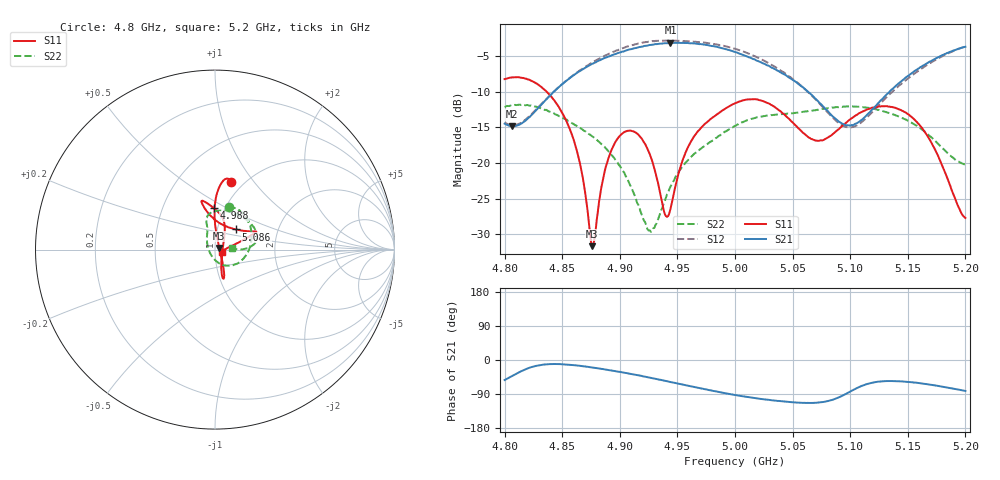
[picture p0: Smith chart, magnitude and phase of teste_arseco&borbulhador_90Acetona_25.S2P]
! Network Analyzer HP8722D
! Hewlett-Packard
! Data name: Linha & Wilkinson
! Saver's name: Rodrigo Anjos
! Comments: Teste da utilização de aquisição
! continua pelo VNA HP8722D
! Time and date: 17/4/2025 11:15
!  Frequency  S11  S21  S12  S22
# HZ  S  MA R 50
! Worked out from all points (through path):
!   401 points, 4.8 GHz to 5.2 GHz, reference 50 ohm
!   highest |S21| = -3.08 dB at 4.944 GHz (marker M1); lowest = -14.8 dB at 4.806 GHz (marker M2)
!   lowest |S11| = -31.7 dB at 4.876 GHz (marker M3), VSWR 1.05, Z = 52.5 + j0.972 ohm
!   |S11| at or under -10 dB: 4.837 GHz to end of sweep
!   |S22| runs from -29.7 to -11.8 dB; largest |S21 - S12| = 1.4
!   S11 on the Smith chart (normalised r, x): 4.8 GHz: 0.87, +0.78; 4.988 GHz: 0.89, +0.43; 5.086 GHz: 1.23, +0.28; 5.2 GHz: 1.08, -0.03
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4.8e9  0.3895 76.7  0.1891 -52.9  0.1929 82.2  0.2471 71.8
4.806e9  0.3997 78.6  0.1814 -43.1  0.1848 91.0  0.2523 66.8
4.843e9  0.2768 89.1  0.3193 -10.6  0.3197 122.5  0.2234 24.1
4.857e9  0.1703 90.6  0.3983 -12.6  0.4001 122.6  0.1936 3.2
4.867e9  0.08545 84.3  0.4529 -16.1  0.4572 120.9  0.1738 -12.4
4.876e9  0.02597 20.9  0.4992 -19.8  0.5087 118.9  0.1541 -26.5
4.888e9  0.09512 -62.3  0.5527 -25.4  0.5751 114.8  0.1263 -44.7
4.902e9  0.1609 -71.7  0.6086 -32.4  0.6411 109.0  0.08952 -66.4
4.925e9  0.1206 -72.8  0.6749 -46.0  0.7149 96.1  0.03345 -143.2
4.934e9  0.06735 -57.7  0.6904 -51.8  0.7268 90.2  0.0418 160.0
4.94e9  0.04231 -17.0  0.6967 -55.6  0.7273 86.3  0.05688 139.7
4.944e9  0.04753 21.7  0.7018 -58.1  0.7274 83.9  0.06826 131.2
4.96e9  0.1331 65.9  0.6971 -68.3  0.7186 73.9  0.1064 113.7
4.988e9  0.2312 91.6  0.6453 -85.7  0.6746 55.8  0.1596 107.5
5e9  0.2634 99.8  0.6046 -92.5  0.6384 48.4  0.1828 104.9
5.028e9  0.2648 105.5  0.4866 -104.6  0.5097 33.9  0.2154 88.6
5.067e9  0.1471 76.4  0.2995 -113.2  0.2966 27.6  0.2337 54.3
5.086e9  0.1624 43.7  0.2092 -103.4  0.2046 39.4  0.2458 36.4
5.105e9  0.217 28.0  0.1894 -75.3  0.1826 69.3  0.2493 22.0
5.134e9  0.2493 23.1  0.3166 -55.4  0.3034 91.0  0.2245 8.9
5.164e9  0.1685 18.9  0.4882 -62.8  0.4746 85.3  0.1684 1.5
5.2e9  0.04103 -17.4  0.6577 -81.7  0.6604 67.4  0.09722 5.5
